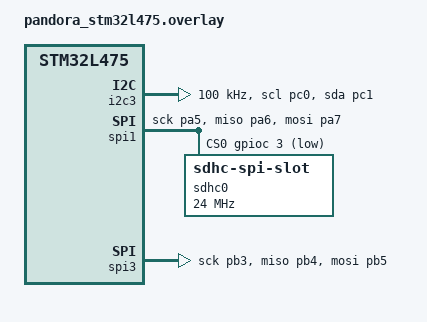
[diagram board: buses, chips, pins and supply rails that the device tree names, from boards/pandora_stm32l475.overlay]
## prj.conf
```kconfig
CONFIG_I2C=y
CONFIG_MAIN_STACK_SIZE=2048
# CONFIG_INIT_STACKS is not set
CONFIG_HW_STACK_PROTECTION=y
CONFIG_GPIO=y
CONFIG_LOG=y
CONFIG_CONSOLE=y
CONFIG_ARM_MPU=y
# CONFIG_THREAD_MONITOR is not set
# CONFIG_THREAD_NAME is not set
# CONFIG_DEVICE_DT_METADATA is not set
CONFIG_UART_CONSOLE=y
CONFIG_DISPLAY=y
CONFIG_GPIO_SHELL=y
CONFIG_I2C_SHELL=y
CONFIG_SPI_SHELL=y
# CONFIG_COMMON_LIBC_REMOVE is not set
CONFIG_FILE_SYSTEM=y
CONFIG_FILE_SYSTEM_MKFS=y
CONFIG_FAT_FILESYSTEM_ELM=y
CONFIG_SHELL=y
```

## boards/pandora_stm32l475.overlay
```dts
&i2c3 {
    compatible = "st,stm32-i2c-v2";
    pinctrl-0 = <&i2c3_scl_pc0 &i2c3_sda_pc1>;
    pinctrl-names = "default";
    clock-frequency = <I2C_BITRATE_STANDARD>;
    status = "okay";
};

&spi1 {
  	status = "okay";
  	pinctrl-0 = <&spi1_sck_pa5 &spi1_miso_pa6 &spi1_mosi_pa7>;
    pinctrl-names = "default";
    cs-gpios = <&gpioc 3 GPIO_ACTIVE_LOW>;

	sdhc0: sdhc@0 {
		compatible = "zephyr,sdhc-spi-slot";
		reg = <0>;
		status = "okay";
		spi-max-frequency = <24000000>;
		mmc {
			compatible = "zephyr,sdmmc-disk";
			status = "okay";
		};
	};
};

&spi3 {
    status = "okay";

    pinctrl-0 = <&spi3_sck_pb3 &spi3_miso_pb4 &spi3_mosi_pb5>;
    pinctrl-names = "default";

    cs-gpios = <&gpiod 7 GPIO_ACTIVE_LOW>;
};

&w25q128jv {
	partitions {
		compatible = "fixed-partitions";
		#address-cells = <1>;
		#size-cells = <1>;

		external_partition: partition@0 {
			label = "storage";
			reg = <0x00000000 DT_SIZE_M(16)>;
		};
	};
};
```

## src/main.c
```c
/*
 * Copyright (c) 2019 Tavish Naruka <tavishnaruka@gmail.com>
 * Copyright (c) 2023 Nordic Semiconductor ASA
 * Copyright (c) 2023 Antmicro <www.antmicro.com>
 *
 * SPDX-License-Identifier: Apache-2.0
 */

/* Sample which uses the filesystem API and SDHC driver */

#include <zephyr/kernel.h>
#include <zephyr/device.h>
#include <zephyr/storage/disk_access.h>
#include <zephyr/logging/log.h>
#include <zephyr/fs/fs.h>

#if defined(CONFIG_FAT_FILESYSTEM_ELM)

#include <ff.h>

/*
 *  Note the fatfs library is able to mount only strings inside _VOLUME_STRS
 *  in ffconf.h
 */
#define DISK_DRIVE_NAME "SD"
#define DISK_MOUNT_PT "/"DISK_DRIVE_NAME":"

static FATFS fat_fs;
/* mounting info */
static struct fs_mount_t mp = {
	.type = FS_FATFS,
	.fs_data = &fat_fs,
};

#elif defined(CONFIG_FILE_SYSTEM_EXT2)

#include <zephyr/fs/ext2.h>

#define DISK_DRIVE_NAME "SDMMC"
#define DISK_MOUNT_PT "/ext"

static struct fs_mount_t mp = {
	.type = FS_EXT2,
	.flags = FS_MOUNT_FLAG_NO_FORMAT,
	.storage_dev = (void *)DISK_DRIVE_NAME,
	.mnt_point = "/ext",
};

#endif

#if defined(CONFIG_FAT_FILESYSTEM_ELM)
#define FS_RET_OK FR_OK
#else
#define FS_RET_OK 0
#endif

LOG_MODULE_REGISTER(main);

#define MAX_PATH 128
#define SOME_FILE_NAME "some.dat"
#define SOME_DIR_NAME "some"
#define SOME_REQUIRED_LEN MAX(sizeof(SOME_FILE_NAME), sizeof(SOME_DIR_NAME))

static int lsdir(const char *path);
#ifdef CONFIG_FS_SAMPLE_CREATE_SOME_ENTRIES
static bool create_some_entries(const char *base_path)
{
	char path[MAX_PATH];
	struct fs_file_t file;
	int base = strlen(base_path);

	fs_file_t_init(&file);

	if (base >= (sizeof(path) - SOME_REQUIRED_LEN)) {
		LOG_ERR("Not enough concatenation buffer to create file paths");
		return false;
	}

	LOG_INF("Creating some dir entries in %s", base_path);
	strncpy(path, base_path, sizeof(path));

	path[base++] = '/';
	path[base] = 0;
	strcat(&path[base], SOME_FILE_NAME);

	if (fs_open(&file, path, FS_O_CREATE) != 0) {
		LOG_ERR("Failed to create file %s", path);
		return false;
	}
	fs_close(&file);

	path[base] = 0;
	strcat(&path[base], SOME_DIR_NAME);

	if (fs_mkdir(path) != 0) {
		LOG_ERR("Failed to create dir %s", path);
		/* If code gets here, it has at least successes to create the
		 * file so allow function to return true.
		 */
	}
	return true;
}
#endif

static const char *disk_mount_pt = DISK_MOUNT_PT;

int main(void)
{
	/* raw disk i/o */
	do {
		static const char *disk_pdrv = DISK_DRIVE_NAME;
		uint64_t memory_size_mb;
		uint32_t block_count;
		uint32_t block_size;

		if (disk_access_ioctl(disk_pdrv,
				DISK_IOCTL_CTRL_INIT, NULL) != 0) {
			LOG_ERR("Storage init ERROR!");
			break;
		}

		if (disk_access_ioctl(disk_pdrv,
				DISK_IOCTL_GET_SECTOR_COUNT, &block_count)) {
			LOG_ERR("Unable to get sector count");
			break;
		}
		LOG_INF("Block count %u", block_count);

		if (disk_access_ioctl(disk_pdrv,
				DISK_IOCTL_GET_SECTOR_SIZE, &block_size)) {
			LOG_ERR("Unable to get sector size");
			break;
		}
		printk("Sector size %u\n", block_size);

		memory_size_mb = (uint64_t)block_count * block_size;
		printk("Memory Size(MB) %u\n", (uint32_t)(memory_size_mb >> 20));

		if (disk_access_ioctl(disk_pdrv,
				DISK_IOCTL_CTRL_DEINIT, NULL) != 0) {
			LOG_ERR("Storage deinit ERROR!");
			break;
		}
	} while (0);

	mp.mnt_point = disk_mount_pt;

	int res = fs_mount(&mp);

	if (res == FS_RET_OK) {
		printk("Disk mounted.\n");
		/* Try to unmount and remount the disk */
		res = fs_unmount(&mp);
		if (res != FS_RET_OK) {
			printk("Error unmounting disk\n");
			return res;
		}
		res = fs_mount(&mp);
		if (res != FS_RET_OK) {
			printk("Error remounting disk\n");
			return res;
		}

		if (lsdir(disk_mount_pt) == 0) {
#ifdef CONFIG_FS_SAMPLE_CREATE_SOME_ENTRIES
			if (create_some_entries(disk_mount_pt)) {
				lsdir(disk_mount_pt);
			}
#endif
		}
	} else {
		printk("Error mounting disk.\n");
	}

	fs_unmount(&mp);

	while (1) {
		k_sleep(K_MSEC(1000));
	}
	return 0;
}

/* List dir entry by path
 *
 * @param path Absolute path to list
 *
 * @return Negative errno code on error, number of listed entries on
 *         success.
 */
static int lsdir(const char *path)
{
	int res;
	struct fs_dir_t dirp;
	static struct fs_dirent entry;
	int count = 0;

	fs_dir_t_init(&dirp);

	/* Verify fs_opendir() */
	res = fs_opendir(&dirp, path);
	if (res) {
		printk("Error opening dir %s [%d]\n", path, res);
		return res;
	}

	printk("\nListing dir %s ...\n", path);
	for (;;) {
		/* Verify fs_readdir() */
		res = fs_readdir(&dirp, &entry);

		/* entry.name[0] == 0 means end-of-dir */
		if (res || entry.name[0] == 0) {
			break;
		}

		if (entry.type == FS_DIR_ENTRY_DIR) {
			printk("[DIR ] %s\n", entry.name);
		} else {
			printk("[FILE] %s (size = %zu)\n",
				entry.name, entry.size);
		}
		count++;
	}

	/* Verify fs_closedir() */
	fs_closedir(&dirp);
	if (res == 0) {
		res = count;
	}

	return res;
}
```
